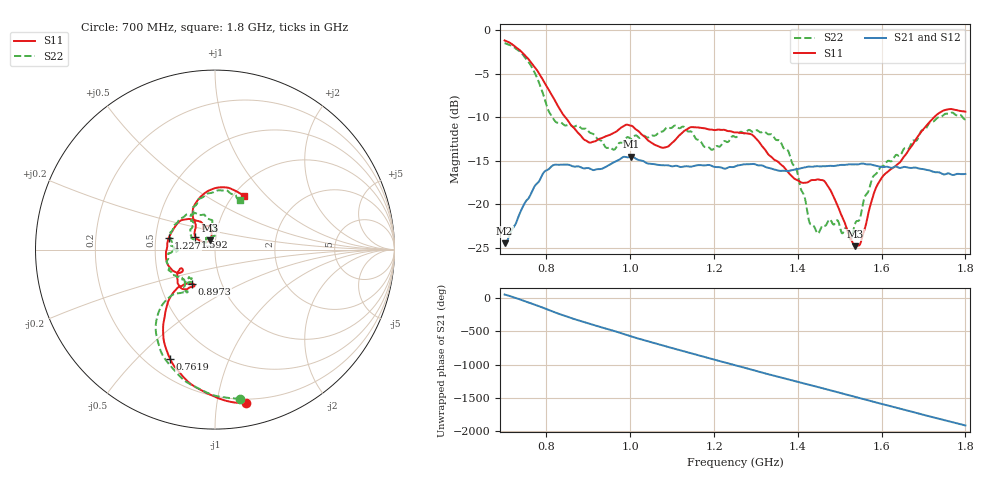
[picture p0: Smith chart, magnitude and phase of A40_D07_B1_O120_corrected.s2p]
! Created with skrf 1.9.0 (http://scikit-rf.org).
# Hz S RI R 50.0
!freq ReS11 ImS11 ReS21 ImS21 ReS12 ImS12 ReS22 ImS22
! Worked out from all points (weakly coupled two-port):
!   1601 points, 700 MHz to 1.8 GHz, reference 50 ohm
!   highest |S21| = -14.53 dB at 1.002 GHz (marker M1); lowest = -24.5 dB at 700 MHz (marker M2)
!   lowest |S11| = -24.8 dB at 1.537 GHz (marker M3), VSWR 1.12, Z = 47.3 + j4.85 ohm
!   |S11| at or under -10 dB: 844.6 MHz to 1.726 GHz (881 MHz wide, 68.6 % of centre)
!   |S22| runs from -24.1 to -1.5 dB; largest |S21 - S12| = 0.0035
!   S11 on the Smith chart (normalised r, x): 700 MHz: 0.17, -1.21; 761.9 MHz: 0.29, -0.63; 897.3 MHz: 0.72, -0.29; 1.227 GHz: 0.58, +0.08; 1.592 GHz: 0.79, +0.12; 1.8 GHz: 1.12, +0.76
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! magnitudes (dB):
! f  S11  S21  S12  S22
! 700 MHz  -1.2  -24.5  -24.3  -1.5
! 761.9 MHz  -3.6  -18.9  -18.9  -4.0
! 818.9 MHz  -8.0  -15.5  -15.6  -10.4
! 883.6 MHz  -12.2  -15.8  -15.7  -11.3
! 897.3 MHz  -12.8  -15.8  -15.9  -11.5
! 958.5 MHz  -11.9  -15.3  -15.3  -13.7
! 1.002 GHz  -11.0  -14.5  -14.6  -12.5
! 1.067 GHz  -13.3  -15.5  -15.4  -11.8
! 1.145 GHz  -11.2  -15.7  -15.7  -11.6
! 1.194 GHz  -11.4  -15.6  -15.5  -13.7
! 1.227 GHz  -11.5  -15.9  -15.9  -12.8
! 1.25 GHz  -11.8  -15.7  -15.6  -12.3
! 1.357 GHz  -15.3  -16.2  -16.1  -12.7
! 1.396 GHz  -17.2  -16.0  -16.0  -15.9
! 1.434 GHz  -17.2  -15.7  -15.7  -22.4
! 1.471 GHz  -17.9  -15.6  -15.6  -22.0
! 1.526 GHz  -23.9  -15.4  -15.4  -24.1
! 1.537 GHz  -24.8  -15.4  -15.4  -22.2
! 1.592 GHz  -17.6  -15.7  -15.6  -16.1
! 1.617 GHz  -16.2  -15.8  -15.7  -15.0
! 1.733 GHz  -9.7  -16.3  -16.4  -10.1
! 1.8 GHz  -9.4  -16.5  -16.5  -10.2
